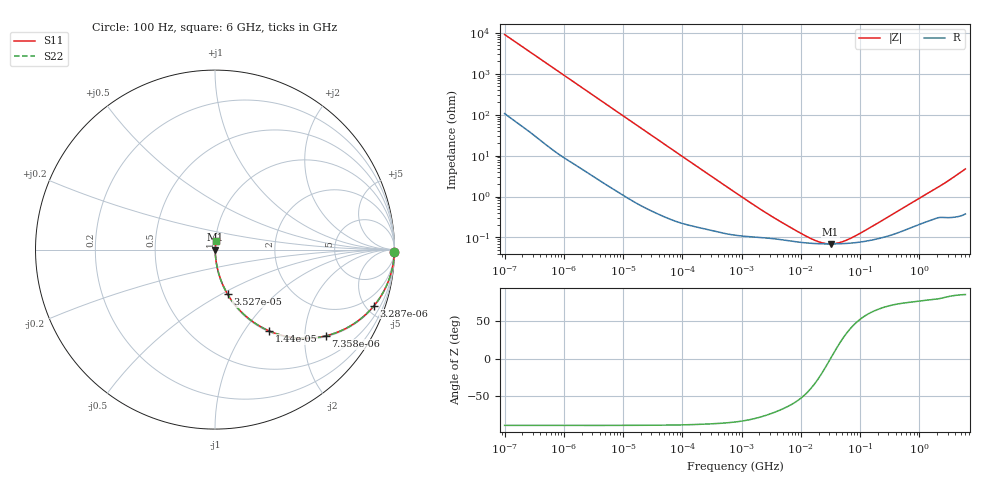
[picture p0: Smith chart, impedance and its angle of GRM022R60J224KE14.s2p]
!Murata Part Number: GRM022R60J224KE14
!These Parameters are Measured in Series Mode Connection
!Data Generated on Mar 30, 2021
!  o--ll--o
!Port1  Port2
!  o------o
!Operation Temp=25[degC], DC Bias Voltage=0[V]
!Freq. Start=100[Hz] Stop=6[GHz] 401[Steps]
# Hz S RI R 50
!Freq.(Hz) S11(Real) S11(Imag) S21(Real) S21(Imag) S12(Real) S12(Imag) S22(Real) S22(Imag)
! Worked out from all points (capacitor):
!   401 points, 100 Hz to 6 GHz, reference 50 ohm
!   read as one part in series: C = 174 nF near 109 Hz
!   lowest |Z| = 69.5 mohm at 31.85 MHz (marker M1)
!   series resonance near 31.79 MHz, so ESL is about 140 pH
!   S11 on the Smith chart (normalised r, x): 100 Hz: open; 3.287 kHz: 1.06, -5.67; 7.358 kHz: 1.03, -2.54; 14.4 kHz: 1.02, -1.31; 35.27 kHz: 1.01, -0.54; 6 GHz: 1.01, +0.09
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100  0.9998 -0.011  0.000249 0.011  0.000249 0.011  0.9998 -0.011
600  0.9952 -0.0647  0.00484 0.0647  0.00484 0.0647  0.9952 -0.0647
2008  0.9534 -0.2058  0.0466 0.2058  0.0466 0.2058  0.9534 -0.2058
3287  0.8867 -0.3117  0.1133 0.3117  0.1133 0.3117  0.8867 -0.3117
4918  0.7804 -0.4087  0.2196 0.4087  0.2196 0.4087  0.7804 -0.4087
7358  0.6169 -0.4806  0.3831 0.4806  0.3831 0.4806  0.6169 -0.4806
10066  0.4652 -0.4931  0.5348 0.4931  0.5348 0.4931  0.4652 -0.4931
14402  0.3011 -0.4528  0.6989 0.4528  0.6989 0.4528  0.3011 -0.4528
22537  0.1522 -0.3528  0.8478 0.3528  0.8478 0.3528  0.1522 -0.3528
35265  0.0703 -0.2483  0.9297 0.2483  0.9297 0.2483  0.0703 -0.2483
40335  0.0553 -0.2209  0.9447 0.2209  0.9447 0.2209  0.0553 -0.2209
129199  0.00738 -0.0732  0.9926 0.0732  0.9926 0.0732  0.00738 -0.0732
774597  0.00129 -0.0126  0.9987 0.0126  0.9987 0.0126  0.00129 -0.0126
3549919  0.000935 -0.00286  0.9991 0.00286  0.9991 0.00286  0.000935 -0.00286
1.555665e7  0.000716 -0.000558  0.9993 0.000558  0.9993 0.000558  0.000716 -0.000558
2.327686e7  0.000698 -0.00023  0.9993 0.00023  0.9993 0.00023  0.000698 -0.00023
3.184506e7  0.000694 1.2e-06  0.9993 -1.2e-06  0.9993 -1.2e-06  0.000694 1.2e-06
4.556224e7  0.000701 0.000266  0.9993 -0.000266  0.9993 -0.000266  0.000701 0.000266
6.817316e7  0.000725 0.000602  0.9993 -0.000602  0.9993 -0.000602  0.000725 0.000602
3.124326e8  0.00111 0.00311  0.9989 -0.00311  0.9989 -0.00311  0.00111 0.00311
2.450438e9  0.00345 0.0192  0.9966 -0.0192  0.9966 -0.0192  0.00345 0.0192
6e9  0.00594 0.0467  0.9941 -0.0467  0.9941 -0.0467  0.00594 0.0467
